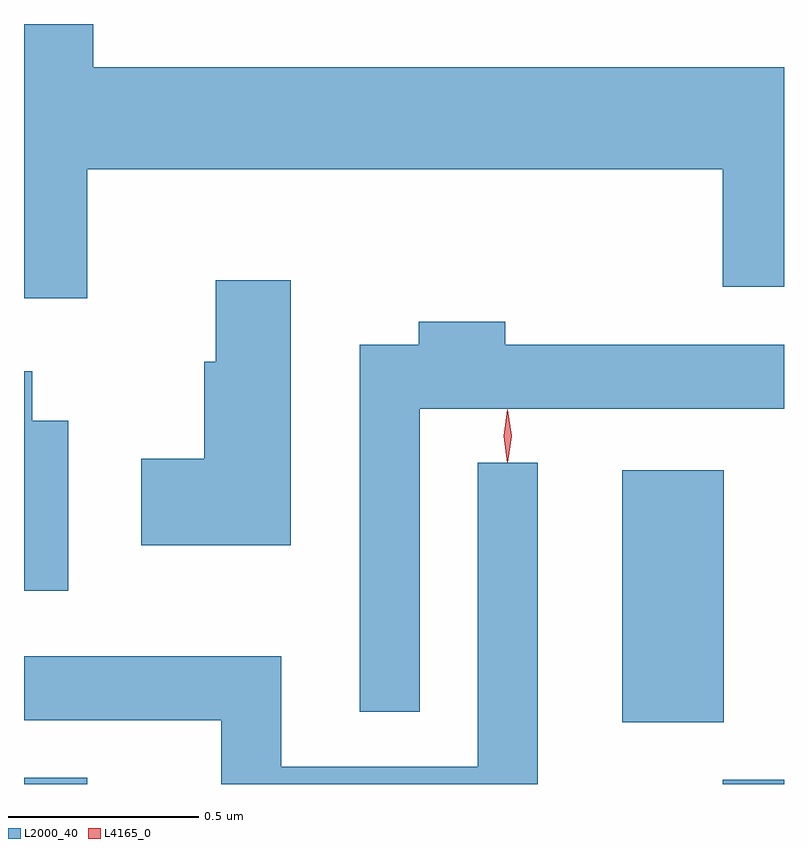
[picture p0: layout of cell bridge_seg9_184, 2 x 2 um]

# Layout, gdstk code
import gdstk
lib = gdstk.Library(unit=1e-6, precision=1e-09)
def R(c, l, rs):  # rectangles x0, y0, x1, y1
    for r in rs: c.add(gdstk.rectangle(r[:2], r[2:], *l))
def P(c, l, *ps):  # polygons
    for p in ps: c.add(gdstk.Polygon(p, *l))
L2000_40 = (2000, 40)
L4165_0 = (4165, 0)

bridge_seg9_184 = lib.new_cell('bridge_seg9_184')
R(bridge_seg9_184, L2000_40, [(1374.002,2070.118,1374.169,2070.134), (1375.841,2070.118,1376.002,2070.129), (1375.576,2070.281,1375.844,2070.944)])
P(bridge_seg9_184, L2000_40, [(1374.169,2071.736),(1375.841,2071.736),(1375.841,2071.426),(1376.002,2071.426),(1376.002,2072.004),(1374.184,2072.004),(1374.184,2072.118),(1374.002,2072.118),(1374.002,2071.396),(1374.169,2071.396)],
  [(1374.704,2071.444),(1374.506,2071.444),(1374.506,2071.229),(1374.476,2071.229),(1374.476,2070.974),(1374.311,2070.974),(1374.311,2070.746),(1374.704,2070.746)],
  [(1375.044,2071.106),(1376.002,2071.106),(1376.002,2071.274),(1375.269,2071.274),(1375.269,2071.334),(1375.041,2071.334),(1375.041,2071.274),(1374.886,2071.274),(1374.886,2070.308),(1375.044,2070.308)],
  [(1374.119,2071.074),(1374.024,2071.074),(1374.024,2071.204),(1374.002,2071.204),(1374.002,2070.626),(1374.119,2070.626)],
  [(1375.354,2070.963),(1375.196,2070.963),(1375.196,2070.164),(1374.679,2070.164),(1374.679,2070.454),(1374.002,2070.454),(1374.002,2070.286),(1374.521,2070.286),(1374.521,2070.118),(1375.354,2070.118)])
P(bridge_seg9_184, L4165_0, [(1375.274,2070.964),(1375.265,2071.033),(1375.274,2071.103),(1375.275,2071.103),(1375.275,2071.103),(1375.285,2071.033),(1375.275,2070.964),(1375.275,2070.964)],
  [(1375.275,2070.967),(1375.274,2070.968),(1375.265,2071.034),(1375.274,2071.1),(1375.275,2071.101),(1375.275,2071.1),(1375.285,2071.034),(1375.275,2070.968)])

lib.write_gds('bridge_seg9_184.gds')
